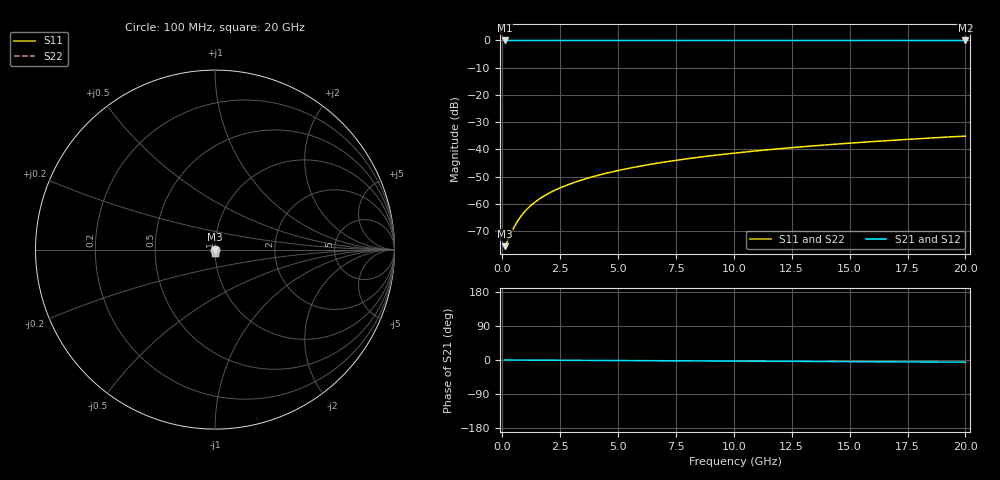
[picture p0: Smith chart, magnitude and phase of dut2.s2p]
! Touchstone file exported from HFSS 2026.1.0
!  File:  C:/ffzhzh/LocalFiles/Ansys_Project_Files/temp_train_TSV_2_1782957761_15332.aedt
!  Generated:  10:04:08 AM Jul  2, 2026
!  Design:  TSV
!  Project:  temp_train_TSV_2_1782957761_15332
! Variables:
!  h_bsmrdl = 2um
!  h_ox = 20um
!  h_rdl = 5um
!  h_sub = 57.99um
!  h_tmrdl = 5um
!  h_tsv = 57.99um
!  h_via = 3um
!  l_bsmrdl = 300um
!  l_sub = 415.02um
!  l_tmrdl = 200um
!  m_sub = 200um
!  pitch = 25.55um
!  r_tsv = 7.51um
!  s_tmrdl = 10um
!  w_bsmrdl = 18um
!  w_sub = 500um
!  w_tmrdl = 12um
!  x_tsv_center1 = 206um
!  x_tsv_center2 = 524um
!  x_tsv_center3 = 736um
!  x_tsv_center4 = 1054um
!  x_tsv_center5 = 1266um
!  x_tsv_center6 = 1584um
# GHz S MA R 50.000000
! Terminal data exported
! Port[1] = TSV1_1_T1
! Port[2] = TSV1_1_T2
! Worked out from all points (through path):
!   200 points, 100 MHz to 20 GHz, reference 50 ohm
!   highest |S21| = 0.00 dB at 100 MHz (marker M1); lowest = 0.0 dB at 20 GHz (marker M2)
!   lowest |S11| = -75.5 dB at 100 MHz (marker M3), VSWR 1.00, Z = 50 - j0.00441 ohm
!   |S11| at or under -10 dB: start of sweep to end of sweep
!   |S22| runs from -75.5 to -35.1 dB; largest |S21 - S12| = 3.1e-15
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0.1  0.000167 -15.3  0.9998 -0.0  0.9998 -0.0  0.000167 -15.3
! Gamma 0 0 0 0
! Port Impedance 50 0 50 0
0.2  0.0001975 -27.7  0.9998 -0.1  0.9998 -0.1  0.0001975 -27.7
0.5  0.0003658 -48.9  0.9998 -0.2  0.9998 -0.2  0.0003658 -48.9
0.7  0.0005104 -56.4  0.9997 -0.2  0.9997 -0.2  0.0005104 -56.4
0.8  0.0005869 -59.3  0.9997 -0.2  0.9997 -0.2  0.0005869 -59.3
1  0.0007441 -63.7  0.9997 -0.3  0.9997 -0.3  0.0007441 -63.7
1.3  0.0009847 -68.4  0.9996 -0.4  0.9996 -0.4  0.0009847 -68.4
1.5  0.001147 -70.7  0.9996 -0.4  0.9996 -0.4  0.001147 -70.7
1.7  0.001309 -72.5  0.9996 -0.5  0.9996 -0.5  0.001309 -72.5
2.2  0.001718 -75.6  0.9996 -0.6  0.9996 -0.6  0.001718 -75.6
2.8  0.002215 -78.0  0.9995 -0.8  0.9995 -0.8  0.002215 -78.0
3.5  0.002803 -79.8  0.9994 -1.0  0.9994 -1.0  0.002803 -79.8
4.2  0.003399 -81.1  0.9994 -1.2  0.9994 -1.2  0.003399 -81.1
5  0.00409 -82.2  0.9993 -1.5  0.9993 -1.5  0.00409 -82.2
5.9  0.004876 -83.2  0.9993 -1.7  0.9993 -1.7  0.004876 -83.2
6.8  0.00567 -84.1  0.9992 -2.0  0.9992 -2.0  0.00567 -84.1
8.3  0.007002 -85.3  0.9991 -2.4  0.9991 -2.4  0.007002 -85.3
10.1  0.008609 -86.6  0.999 -2.9  0.999 -2.9  0.008609 -86.6
11.7  0.01004 -87.6  0.9989 -3.4  0.9989 -3.4  0.01004 -87.6
13.4  0.01157 -88.5  0.9989 -3.8  0.9989 -3.8  0.01157 -88.5
16.7  0.01454 -90.0  0.9987 -4.8  0.9987 -4.8  0.01454 -90.0
20  0.01754 -91.3  0.9985 -5.7  0.9985 -5.7  0.01754 -91.3
